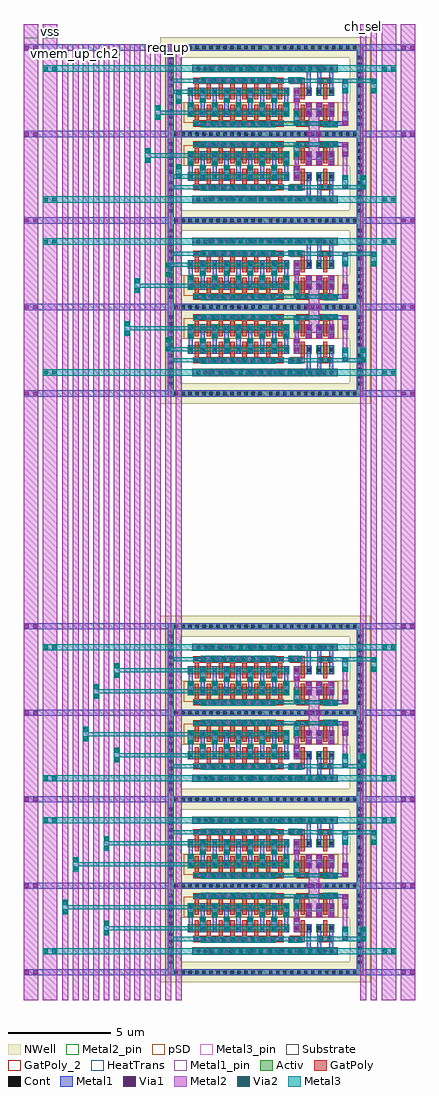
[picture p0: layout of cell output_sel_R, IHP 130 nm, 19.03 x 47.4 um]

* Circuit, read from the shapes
.subckt output_sel_R ch_sel ch_sel_n req_dn req_dn_ch1 req_dn_ch2 req_up req_up_ch1 req_up_ch2 vdd vmem_dn vmem_dn_ch1 vmem_dn_ch2 vmem_up vmem_up_ch1 vmem_up_ch2 vss
XM1 vmem_up ch_sel vmem_up_ch1 vss sg13_lv_nmos w=0.4u l=0.2u m=8
XM2 vmem_up ch_sel_n vmem_up_ch2 vss sg13_lv_nmos w=0.4u l=0.2u m=8
XM3 vmem_dn ch_sel vmem_dn_ch1 vss sg13_lv_nmos w=0.4u l=0.2u m=8
XM4 vmem_dn ch_sel_n vmem_dn_ch2 vss sg13_lv_nmos w=0.4u l=0.2u m=8
XM5 req_up ch_sel req_up_ch1 vss sg13_lv_nmos w=0.4u l=0.2u m=8
XM6 req_up ch_sel_n req_up_ch2 vss sg13_lv_nmos w=0.4u l=0.2u m=8
XM7 req_dn ch_sel req_dn_ch1 vss sg13_lv_nmos w=0.4u l=0.2u m=8
XM8 req_dn ch_sel_n req_dn_ch2 vss sg13_lv_nmos w=0.4u l=0.2u m=8
XM9 vss ch_sel n1 vss sg13_lv_nmos w=0.4u l=0.2u
XM10 vss ch_sel_n n2 vss sg13_lv_nmos w=0.4u l=0.2u
XM11 vss ch_sel n3 vss sg13_lv_nmos w=0.4u l=0.2u
XM12 vss ch_sel_n n4 vss sg13_lv_nmos w=0.4u l=0.2u
XM13 vss ch_sel n5 vss sg13_lv_nmos w=0.4u l=0.2u
XM14 vss ch_sel_n n6 vss sg13_lv_nmos w=0.4u l=0.2u
XM15 vss ch_sel n7 vss sg13_lv_nmos w=0.4u l=0.2u
XM16 vss ch_sel_n n8 vss sg13_lv_nmos w=0.4u l=0.2u
XM17 vss vss vss vss sg13_lv_nmos w=0.4u l=0.2u m=8
XM18 vmem_up n1 vmem_up_ch1 vdd sg13_lv_pmos w=0.4u l=0.2u m=8
XM19 vmem_up n2 vmem_up_ch2 vdd sg13_lv_pmos w=0.4u l=0.2u m=8
XM20 vmem_dn n3 vmem_dn_ch1 vdd sg13_lv_pmos w=0.4u l=0.2u m=8
XM21 vmem_dn n4 vmem_dn_ch2 vdd sg13_lv_pmos w=0.4u l=0.2u m=8
XM22 req_up n5 req_up_ch1 vdd sg13_lv_pmos w=0.4u l=0.2u m=8
XM23 req_up n6 req_up_ch2 vdd sg13_lv_pmos w=0.4u l=0.2u m=8
XM24 req_dn n7 req_dn_ch1 vdd sg13_lv_pmos w=0.4u l=0.2u m=8
XM25 req_dn n8 req_dn_ch2 vdd sg13_lv_pmos w=0.4u l=0.2u m=8
XM26 vdd ch_sel n1 vdd sg13_lv_pmos w=0.4u l=0.2u m=2
XM27 vdd ch_sel_n n2 vdd sg13_lv_pmos w=0.4u l=0.2u m=2
XM28 vdd ch_sel n3 vdd sg13_lv_pmos w=0.4u l=0.2u m=2
XM29 vdd ch_sel_n n4 vdd sg13_lv_pmos w=0.4u l=0.2u m=2
XM30 vdd ch_sel n5 vdd sg13_lv_pmos w=0.4u l=0.2u m=2
XM31 vdd ch_sel_n n6 vdd sg13_lv_pmos w=0.4u l=0.2u m=2
XM32 vdd ch_sel n7 vdd sg13_lv_pmos w=0.4u l=0.2u m=2
XM33 vdd ch_sel_n n8 vdd sg13_lv_pmos w=0.4u l=0.2u m=2
.ends

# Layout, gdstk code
from math import pi, radians
import gdstk
lib = gdstk.Library(unit=1e-6, precision=1e-09)
def R(c, l, rs):  # rectangles x0, y0, x1, y1
    for r in rs: c.add(gdstk.rectangle(r[:2], r[2:], *l))
def A(c, l, x, y, w, h, nx, ny, dx, dy):  # array of equal rectangles
    R(c, l, [(x+i*dx, y+j*dy, x+i*dx+w, y+j*dy+h) for i in range(nx) for j in range(ny)])
def P(c, l, *ps):  # polygons
    for p in ps: c.add(gdstk.Polygon(p, *l))
Activ = (1, 0)
GatPoly = (5, 0)
GatPoly_2 = (5, 2)
Cont = (6, 0)
Metal1 = (8, 0)
Metal1_pin = (8, 2)
Metal2 = (10, 0)
Metal2_pin = (10, 2)
pSD = (14, 0)
Via1 = (19, 0)
Via2 = (29, 0)
Metal3 = (30, 0)
Metal3_pin = (30, 2)
NWell = (31, 0)
Substrate = (40, 0)
HeatTrans = (51, 0)

nmos_4 = lib.new_cell('nmos$4')
R(nmos_4, Activ, [(0,0,0.3,0.3), (0,0,0.88,0.4), (0.58,0,0.88,0.3)])
R(nmos_4, GatPoly, [(0.34,-0.18,0.54,0.58)])
R(nmos_4, GatPoly_2, [(0.34,-0.18,0.54,0.58)])
R(nmos_4, Cont, [(0.07,0.12,0.23,0.28), (0.65,0.12,0.81,0.28)])
R(nmos_4, Metal1, [(0.07,0,0.23,0.4), (0.65,0,0.81,0.4)])
R(nmos_4, Metal1_pin, [(0.07,0,0.23,0.4), (0.65,0,0.81,0.4)])
R(nmos_4, HeatTrans, [(0.34,-0.18,0.54,0.58)])
nmos_4.add(gdstk.Label('nmos', (0.44,0.2), layer=63, texttype=0))
nmos_4.add(gdstk.Label('nmos', (0.44,0.2), layer=51, texttype=0))

pmos_4 = lib.new_cell('pmos$4')
R(pmos_4, Activ, [(0,0,0.3,0.3), (0,0,0.88,0.4), (0.58,0,0.88,0.3)])
R(pmos_4, GatPoly, [(0.34,-0.18,0.54,0.58), (0.34,-0.18,0.54,0.58)])
R(pmos_4, Cont, [(0.07,0.12,0.23,0.28), (0.65,0.12,0.81,0.28)])
R(pmos_4, Metal1, [(0.07,0,0.23,0.4), (0.07,0,0.23,0.4), (0.65,0,0.81,0.4), (0.65,0,0.81,0.4)])
R(pmos_4, pSD, [(-0.18,-0.3,1.06,0.7)])
R(pmos_4, NWell, [(-0.31,-0.31,1.19,0.71)])
R(pmos_4, Substrate, [(0.58,0,0.88,0.3)])
R(pmos_4, HeatTrans, [(0.34,-0.18,0.54,0.58)])
pmos_4.add(gdstk.Label('pmos', (0.44,0.2), layer=63, texttype=0))
pmos_4.add(gdstk.Label('pmos', (0.44,0.2), layer=51, texttype=0))

viagpcont_m1_9 = lib.new_cell('ViaGPCont_M1$9')
R(viagpcont_m1_9, GatPoly, [(-2.19,-0.15,2.19,0.15)])
A(viagpcont_m1_9, Cont, -2.12, -0.08, 0.16, 0.16, 13, 1, 0.34, 0)
R(viagpcont_m1_9, Metal1, [(-2.17,-0.08,2.17,0.08)])

viagpcont_m1_2 = lib.new_cell('ViaGPCont_M1$2')
R(viagpcont_m1_2, GatPoly, [(-0.32,-0.15,0.32,0.15)])
R(viagpcont_m1_2, Cont, [(-0.25,-0.08,-0.09,0.08), (0.09,-0.08,0.25,0.08)])
R(viagpcont_m1_2, Metal1, [(-0.3,-0.08,0.3,0.08)])

via_stack_3 = lib.new_cell('via_stack$3')
R(via_stack_3, Metal1, [(-0.145,-0.35,0.145,0.35)])
R(via_stack_3, Metal2, [(-0.145,-0.35,0.145,0.35)])
R(via_stack_3, Via1, [(-0.095,-0.3,0.095,-0.11), (-0.095,0.11,0.095,0.3)])
R(via_stack_3, Via2, [(-0.095,-0.3,0.095,-0.11), (-0.095,0.11,0.095,0.3)])
R(via_stack_3, Metal3, [(-0.145,-0.35,0.145,0.35)])

via_stack_7 = lib.new_cell('via_stack$7')
R(via_stack_7, Metal1, [(-0.145,-1.825,0.145,1.825)])
R(via_stack_7, Metal2, [(-0.145,-1.825,0.145,1.825)])
A(via_stack_7, Via1, -0.095, -1.775, 0.19, 0.19, 1, 8, 0, 0.48)
A(via_stack_7, Via2, -0.095, -1.775, 0.19, 0.19, 1, 8, 0, 0.48)
R(via_stack_7, Metal3, [(-0.145,-1.825,0.145,1.825)])

via_stack = lib.new_cell('via_stack')
R(via_stack, Metal1, [(-0.145,-0.35,0.145,0.35)])
R(via_stack, Metal2, [(-0.145,-0.35,0.145,0.35)])
R(via_stack, Via1, [(-0.095,-0.3,0.095,-0.11), (-0.095,0.11,0.095,0.3)])

via_stack_5_1 = lib.new_cell('via_stack$5$1')
R(via_stack_5_1, Metal2, [(-0.145,-0.35,0.145,0.35)])
R(via_stack_5_1, Via2, [(-0.095,-0.3,0.095,-0.11), (-0.095,0.11,0.095,0.3)])
R(via_stack_5_1, Metal3, [(-0.145,-0.35,0.145,0.35)])

via_stack_4_2 = lib.new_cell('via_stack$4$2')
R(via_stack_4_2, Metal2, [(-0.35,-0.145,0.35,0.145)])
R(via_stack_4_2, Via2, [(-0.3,-0.095,-0.11,0.095), (0.11,-0.095,0.3,0.095)])
R(via_stack_4_2, Metal3, [(-0.35,-0.145,0.35,0.145)])

via_stack_1 = lib.new_cell('via_stack$1')
R(via_stack_1, Metal1, [(-0.35,-0.145,0.35,0.145)])
R(via_stack_1, Metal2, [(-0.35,-0.145,0.35,0.145)])
R(via_stack_1, Via1, [(-0.3,-0.095,-0.11,0.095), (0.11,-0.095,0.3,0.095)])
R(via_stack_1, Via2, [(-0.3,-0.095,-0.11,0.095), (0.11,-0.095,0.3,0.095)])
R(via_stack_1, Metal3, [(-0.35,-0.145,0.35,0.145)])

ptap_2 = lib.new_cell('PTap$2')
R(ptap_2, Activ, [(-3.5,-0.15,3.5,0.15)])
A(ptap_2, Cont, -3.31, -0.08, 0.16, 0.16, 20, 1, 0.34, 0)
R(ptap_2, Metal1, [(-3.5,-0.15,3.5,0.15)])
R(ptap_2, pSD, [(-3.53,-0.18,3.53,0.18)])
R(ptap_2, Substrate, [(-3.53,-0.18,3.53,0.18)])

via_stack_2 = lib.new_cell('via_stack$2')
R(via_stack_2, Metal1, [(-0.35,-0.145,0.35,0.145)])
R(via_stack_2, Metal2, [(-0.35,-0.145,0.35,0.145)])
R(via_stack_2, Via1, [(-0.3,-0.095,-0.11,0.095), (0.11,-0.095,0.3,0.095)])

guardring_wonwellpsub_1 = lib.new_cell('Guardring_wonwellpsub$1')
P(guardring_wonwellpsub_1, Activ, [(-4.75,-2.25),(-4.75,1.95),(-4.45,1.95),(-4.45,-1.95),(4.45,-1.95),(4.45,1.95),(-4.75,1.95),(-4.75,2.25),(4.75,2.25),(4.75,-2.25)])
A(guardring_wonwellpsub_1, Cont, -4.42, -2.18, 0.16, 0.16, 13, 2, 0.34, 4.2)
A(guardring_wonwellpsub_1, Cont, 0.18, -2.18, 0.16, 0.16, 13, 2, 0.34, 4.2)
A(guardring_wonwellpsub_1, Cont, -4.68, -1.7, 0.16, 0.16, 1, 5, 0, 0.34)
A(guardring_wonwellpsub_1, Cont, 4.52, -1.7, 0.16, 0.16, 1, 5, 0, 0.34)
A(guardring_wonwellpsub_1, Cont, -4.68, 0.18, 0.16, 0.16, 1, 5, 0, 0.34)
A(guardring_wonwellpsub_1, Cont, 4.52, 0.18, 0.16, 0.16, 1, 5, 0, 0.34)
P(guardring_wonwellpsub_1, Metal1, [(-4.75,-2.25),(-4.75,1.95),(-4.45,1.95),(-4.45,-1.95),(4.45,-1.95),(4.45,1.95),(-4.75,1.95),(-4.75,2.25),(4.75,2.25),(4.75,-2.25)])

tgate = lib.new_cell('tgate')
R(tgate, GatPoly, [(6.67,1.96,6.77,2.26)])
R(tgate, Metal1_pin, [(1.335,1.37,1.635,1.67), (0.4,4.55,0.7,4.85)])
R(tgate, Metal3_pin, [(0.4,2.01,0.6,2.21), (0.4,2.54,0.6,2.74), (0.4,3.56,0.6,3.76)])
R(tgate, NWell, [(-0.25,0,0.75,3.15), (0.75,0,8.95,1), (8.95,0,9.95,3.15), (-0.25,3.15,9.95,5.2)])
tgate.add(gdstk.FlexPath([(1.225,3.86),(1.225,2.44)], 0.2, ends="flush", simple_path=True, layer=8, datatype=0))  # Metal1
tgate.add(gdstk.FlexPath([(1.805,3.86),(1.805,2.44)], 0.2, ends="flush", simple_path=True, layer=8, datatype=0))  # Metal1
tgate.add(gdstk.FlexPath([(2.385,3.86),(2.385,2.44)], 0.2, ends="flush", simple_path=True, layer=8, datatype=0))  # Metal1
tgate.add(gdstk.FlexPath([(2.965,3.86),(2.965,2.44)], 0.2, ends="flush", simple_path=True, layer=8, datatype=0))  # Metal1
tgate.add(gdstk.FlexPath([(3.545,3.86),(3.545,2.44)], 0.2, ends="flush", simple_path=True, layer=8, datatype=0))  # Metal1
tgate.add(gdstk.FlexPath([(4.125,3.86),(4.125,2.44)], 0.2, ends="flush", simple_path=True, layer=8, datatype=0))  # Metal1
tgate.add(gdstk.FlexPath([(4.705,3.86),(4.705,2.44)], 0.2, ends="flush", simple_path=True, layer=8, datatype=0))  # Metal1
tgate.add(gdstk.FlexPath([(5.285,3.86),(5.285,2.44)], 0.2, ends="flush", simple_path=True, layer=8, datatype=0))  # Metal1
tgate.add(gdstk.FlexPath([(5.865,3.86),(5.865,2.44)], 0.2, ends="flush", simple_path=True, layer=8, datatype=0))  # Metal1
tgate.add(gdstk.FlexPath([(6.38,3.86),(6.38,2.44)], 0.2, ends="flush", simple_path=True, layer=8, datatype=0))  # Metal1
tgate.add(gdstk.FlexPath([(8.05,2.84),(8.05,1.37)], 0.2, ends="flush", simple_path=True, layer=8, datatype=0))  # Metal1
tgate.add(gdstk.FlexPath([(6.26,4.19),(8.82,4.19)], 0.2, ends="flush", simple_path=True, layer=8, datatype=0))  # Metal1
tgate.add(gdstk.FlexPath([(7.47,2.84),(7.47,1.37)], 0.2, ends="flush", simple_path=True, layer=8, datatype=0))  # Metal1
tgate.add(gdstk.FlexPath([(7.76,2.11),(8.135,2.11)], 0.2, ends="flush", simple_path=True, layer=8, datatype=0))  # Metal1
tgate.add(gdstk.FlexPath([(7.76,2.11),(7.37,2.11)], 0.2, ends="flush", simple_path=True, layer=8, datatype=0))  # Metal1
tgate.add(gdstk.FlexPath([(6.96,2.84),(6.96,1.37)], 0.2, ends="flush", simple_path=True, layer=8, datatype=0))  # Metal1
tgate.add(gdstk.FlexPath([(8.72,2.01),(8.72,4.29)], 0.2, ends="flush", simple_path=True, layer=10, datatype=0))  # Metal2
tgate.add(gdstk.FlexPath([(7.205,3.46),(7.205,4.845)], 0.5, ends="flush", simple_path=True, layer=10, datatype=0))  # Metal2
tgate.add(gdstk.FlexPath([(6.38,2.44),(6.38,4.29)], 0.2, ends="flush", simple_path=True, layer=10, datatype=0))  # Metal2
tgate.add(gdstk.FlexPath([(8.05,3.46),(8.05,4.29)], 0.2, ends="flush", simple_path=True, layer=10, datatype=0))  # Metal2
tgate.add(gdstk.FlexPath([(6.015,3.66),(0.4,3.66)], 0.2, ends="flush", simple_path=True, layer=30, datatype=0))  # Metal3
tgate.add(gdstk.FlexPath([(6.015,2.64),(0.4,2.64)], 0.2, ends="flush", simple_path=True, layer=30, datatype=0))  # Metal3
tgate.add(gdstk.FlexPath([(5.715,2.11),(0.4,2.11)], 0.2, ends="flush", simple_path=True, layer=30, datatype=0))  # Metal3
tgate.add(gdstk.FlexPath([(8.15,4.19),(1.375,4.19)], 0.2, ends="flush", simple_path=True, layer=30, datatype=0))  # Metal3
tgate.add(gdstk.FlexPath([(6,2.11),(8.82,2.11)], 0.2, ends="flush", simple_path=True, layer=30, datatype=0))  # Metal3
tgate.add(gdstk.FlexPath([(5.715,2.11),(6.015,2.11)], 0.2, ends="flush", simple_path=True, layer=30, datatype=0))  # Metal3
tgate.add(gdstk.Reference(nmos_4, (1.075,2.44)))
tgate.add(gdstk.Reference(nmos_4, (1.655,2.44)))
tgate.add(gdstk.Reference(nmos_4, (2.235,2.44)))
tgate.add(gdstk.Reference(nmos_4, (2.815,2.44)))
tgate.add(gdstk.Reference(nmos_4, (3.975,2.44)))
tgate.add(gdstk.Reference(nmos_4, (4.555,2.44)))
tgate.add(gdstk.Reference(nmos_4, (5.135,2.44)))
tgate.add(gdstk.Reference(pmos_4, (1.075,3.46)))
tgate.add(gdstk.Reference(pmos_4, (1.655,3.46)))
tgate.add(gdstk.Reference(pmos_4, (2.235,3.46)))
tgate.add(gdstk.Reference(pmos_4, (2.815,3.46)))
tgate.add(gdstk.Reference(pmos_4, (3.395,3.46)))
tgate.add(gdstk.Reference(pmos_4, (3.975,3.46)))
tgate.add(gdstk.Reference(pmos_4, (4.555,3.46)))
tgate.add(gdstk.Reference(pmos_4, (7.11,3.46), rotation=pi, x_reflection=True))
tgate.add(gdstk.Reference(pmos_4, (5.135,3.46)))
tgate.add(gdstk.Reference(pmos_4, (7.32,3.46)))
tgate.add(gdstk.Reference(nmos_4, (3.395,2.44)))
tgate.add(gdstk.Reference(nmos_4, (7.11,2.44), rotation=pi, x_reflection=True))
tgate.add(gdstk.Reference(nmos_4, (7.32,2.44)))
tgate.add(gdstk.Reference(viagpcont_m1_9, (3.545,4.19)))
tgate.add(gdstk.Reference(viagpcont_m1_9, (3.545,2.11)))
tgate.add(gdstk.Reference(viagpcont_m1_2, (6.67,4.19), rotation=pi, x_reflection=True))
tgate.add(gdstk.Reference(viagpcont_m1_2, (7.76,4.19)))
tgate.add(gdstk.Reference(via_stack_3, (1.225,3.51)))
tgate.add(gdstk.Reference(via_stack_3, (1.805,2.84)))
tgate.add(gdstk.Reference(via_stack_3, (2.385,3.51)))
tgate.add(gdstk.Reference(via_stack_3, (3.545,3.51)))
tgate.add(gdstk.Reference(via_stack_3, (4.705,3.51)))
tgate.add(gdstk.Reference(via_stack_3, (5.865,3.51)))
tgate.add(gdstk.Reference(via_stack_3, (2.965,2.84)))
tgate.add(gdstk.Reference(via_stack_3, (4.125,2.84)))
tgate.add(gdstk.Reference(via_stack_3, (5.285,2.84)))
tgate.add(gdstk.Reference(via_stack_7, (3.53,4.215), rotation=3*pi/2))
tgate.add(gdstk.Reference(via_stack_7, (3.53,2.085), rotation=3*pi/2))
tgate.add(gdstk.Reference(via_stack, (6.38,2.84), rotation=pi, x_reflection=True))
tgate.add(gdstk.Reference(via_stack, (8.06,3.51)))
tgate.add(gdstk.Reference(via_stack_5_1, (6.38,3.94), rotation=pi, x_reflection=True))
tgate.add(gdstk.Reference(via_stack_4_2, (8.015,4.215)))
tgate.add(gdstk.Reference(via_stack, (7.47,3.51)))
tgate.add(gdstk.Reference(viagpcont_m1_2, (7.76,2.11)))
tgate.add(gdstk.Reference(via_stack, (6.96,3.51), rotation=pi, x_reflection=True))
tgate.add(gdstk.Reference(via_stack_1, (6.3,2.085), rotation=pi, x_reflection=True))
tgate.add(gdstk.Reference(via_stack, (8.72,3.94)))
tgate.add(gdstk.Reference(viagpcont_m1_2, (6.35,2.11)))
tgate.add(gdstk.Reference(via_stack_5_1, (8.72,2.36)))
tgate.add(gdstk.Reference(ptap_2, (4.835,1.52)))
tgate.add(gdstk.Reference(via_stack_2, (7.205,4.7)))
tgate.add(gdstk.Reference(guardring_wonwellpsub_1, (4.85,2.6)))
tgate.add(gdstk.Label('sel', (0.5,2.11), layer=30, texttype=25))
tgate.add(gdstk.Label('out', (0.5,2.64), layer=30, texttype=25))
tgate.add(gdstk.Label('in', (0.5,3.66), layer=30, texttype=25))
tgate.add(gdstk.Label('vdd', (0.55,4.7), layer=8, texttype=25))
tgate.add(gdstk.Label('vss', (1.485,1.52), layer=8, texttype=25))

via_stack_17 = lib.new_cell('via_stack$17')
R(via_stack_17, Metal1, [(-2.785,-0.145,2.785,0.145)])
R(via_stack_17, Metal2, [(-2.785,-0.145,2.785,0.145)])
A(via_stack_17, Via1, -2.735, -0.095, 0.19, 0.19, 12, 1, 0.48, 0)
A(via_stack_17, Via2, -2.735, -0.095, 0.19, 0.19, 12, 1, 0.48, 0)
R(via_stack_17, Metal3, [(-2.785,-0.145,2.785,0.145)])

output_sel_r = lib.new_cell('output_sel_R')
R(output_sel_r, Metal2_pin, [(-6.64,45.85,-5.94,46.55), (-5.7,45.85,-5,46.55), (9.715,46.26,10.005,46.55), (10.215,46.26,10.505,46.55)])
output_sel_r.add(gdstk.FlexPath([(12.385,45.405),(9.85,45.405)], 0.3, ends="flush", simple_path=True, layer=8, datatype=0))  # Metal1
output_sel_r.add(gdstk.FlexPath([(12.385,41.205),(9.85,41.205)], 0.3, ends="flush", simple_path=True, layer=8, datatype=0))  # Metal1
output_sel_r.add(gdstk.FlexPath([(12.385,37.005),(9.85,37.005)], 0.3, ends="flush", simple_path=True, layer=8, datatype=0))  # Metal1
output_sel_r.add(gdstk.FlexPath([(12.385,32.805),(9.85,32.805)], 0.3, ends="flush", simple_path=True, layer=8, datatype=0))  # Metal1
output_sel_r.add(gdstk.FlexPath([(12.385,28.605),(9.85,28.605)], 0.3, ends="flush", simple_path=True, layer=8, datatype=0))  # Metal1
output_sel_r.add(gdstk.FlexPath([(12.385,17.3),(9.85,17.3)], 0.3, ends="flush", simple_path=True, layer=8, datatype=0))  # Metal1
output_sel_r.add(gdstk.FlexPath([(12.385,13.1),(9.85,13.1)], 0.3, ends="flush", simple_path=True, layer=8, datatype=0))  # Metal1
output_sel_r.add(gdstk.FlexPath([(12.385,8.9),(9.85,8.9)], 0.3, ends="flush", simple_path=True, layer=8, datatype=0))  # Metal1
output_sel_r.add(gdstk.FlexPath([(9.55,4.7),(12.385,4.7)], 0.3, ends="flush", simple_path=True, layer=8, datatype=0))  # Metal1
output_sel_r.add(gdstk.FlexPath([(9.55,0.5),(12.385,0.5)], 0.3, ends="flush", simple_path=True, layer=8, datatype=0))  # Metal1
output_sel_r.add(gdstk.FlexPath([(0.525,45.405),(-6.64,45.405)], 0.3, ends="flush", simple_path=True, layer=8, datatype=0))  # Metal1
output_sel_r.add(gdstk.FlexPath([(0.525,41.205),(-6.64,41.205)], 0.3, ends="flush", simple_path=True, layer=8, datatype=0))  # Metal1
output_sel_r.add(gdstk.FlexPath([(0.525,37.005),(-6.64,37.005)], 0.3, ends="flush", simple_path=True, layer=8, datatype=0))  # Metal1
output_sel_r.add(gdstk.FlexPath([(0.525,28.605),(-6.64,28.605)], 0.3, ends="flush", simple_path=True, layer=8, datatype=0))  # Metal1
output_sel_r.add(gdstk.FlexPath([(0.525,17.3),(-6.64,17.3)], 0.3, ends="flush", simple_path=True, layer=8, datatype=0))  # Metal1
output_sel_r.add(gdstk.FlexPath([(0.525,13.1),(-6.64,13.1)], 0.3, ends="flush", simple_path=True, layer=8, datatype=0))  # Metal1
output_sel_r.add(gdstk.FlexPath([(0.525,8.9),(-6.64,8.9)], 0.3, ends="flush", simple_path=True, layer=8, datatype=0))  # Metal1
output_sel_r.add(gdstk.FlexPath([(0.525,4.7),(-6.64,4.7)], 0.3, ends="flush", simple_path=True, layer=8, datatype=0))  # Metal1
output_sel_r.add(gdstk.FlexPath([(0.525,0.5),(-6.64,0.5)], 0.3, ends="flush", simple_path=True, layer=8, datatype=0))  # Metal1
output_sel_r.add(gdstk.FlexPath([(0.525,32.805),(-6.64,32.805)], 0.3, ends="flush", simple_path=True, layer=8, datatype=0))  # Metal1
output_sel_r.add(gdstk.FlexPath([(-3.115,45.555),(-3.115,-0.85)], 0.29, ends="flush", simple_path=True, layer=10, datatype=0))  # Metal2
output_sel_r.add(gdstk.FlexPath([(-3.615,45.555),(-3.615,-0.85)], 0.29, ends="flush", simple_path=True, layer=10, datatype=0))  # Metal2
output_sel_r.add(gdstk.FlexPath([(-4.115,45.555),(-4.115,-0.85)], 0.29, ends="flush", simple_path=True, layer=10, datatype=0))  # Metal2
output_sel_r.add(gdstk.FlexPath([(-2.115,45.555),(-2.115,-0.85)], 0.29, ends="flush", simple_path=True, layer=10, datatype=0))  # Metal2
output_sel_r.add(gdstk.FlexPath([(-2.615,45.555),(-2.615,-0.85)], 0.29, ends="flush", simple_path=True, layer=10, datatype=0))  # Metal2
output_sel_r.add(gdstk.FlexPath([(-4.615,45.555),(-4.615,-0.85)], 0.29, ends="flush", simple_path=True, layer=10, datatype=0))  # Metal2
output_sel_r.add(gdstk.FlexPath([(-0.115,45.555),(-0.115,-0.85)], 0.29, ends="flush", simple_path=True, layer=10, datatype=0))  # Metal2
output_sel_r.add(gdstk.FlexPath([(-0.615,45.555),(-0.615,-0.85)], 0.29, ends="flush", simple_path=True, layer=10, datatype=0))  # Metal2
output_sel_r.add(gdstk.FlexPath([(-1.115,45.555),(-1.115,-0.85)], 0.29, ends="flush", simple_path=True, layer=10, datatype=0))  # Metal2
output_sel_r.add(gdstk.FlexPath([(0.885,45.555),(0.885,-0.85)], 0.29, ends="flush", simple_path=True, layer=10, datatype=0))  # Metal2
output_sel_r.add(gdstk.FlexPath([(-1.615,45.555),(-1.615,-0.85)], 0.29, ends="flush", simple_path=True, layer=10, datatype=0))  # Metal2
output_sel_r.add(gdstk.FlexPath([(0.385,45.555),(0.385,-0.85)], 0.29, ends="flush", simple_path=True, layer=10, datatype=0))  # Metal2
output_sel_r.add(gdstk.FlexPath([(9.86,46.55),(9.86,-0.85)], 0.29, ends="flush", simple_path=True, layer=10, datatype=0))  # Metal2
output_sel_r.add(gdstk.FlexPath([(10.36,46.55),(10.36,-0.85)], 0.29, ends="flush", simple_path=True, layer=10, datatype=0))  # Metal2
output_sel_r.add(gdstk.FlexPath([(12.035,46.55),(12.035,-0.85)], 0.7, ends="flush", simple_path=True, layer=10, datatype=0))  # Metal2
output_sel_r.add(gdstk.FlexPath([(11.095,46.55),(11.095,-0.85)], 0.7, ends="flush", simple_path=True, layer=10, datatype=0))  # Metal2
output_sel_r.add(gdstk.FlexPath([(-5.35,46.55),(-5.35,-0.85)], 0.7, ends="flush", simple_path=True, layer=10, datatype=0))  # Metal2
output_sel_r.add(gdstk.FlexPath([(-6.29,46.55),(-6.29,-0.85)], 0.7, ends="flush", simple_path=True, layer=10, datatype=0))  # Metal2
output_sel_r.add(gdstk.FlexPath([(5.34,2.11),(9.98,2.11)], 0.2, ends="flush", simple_path=True, layer=30, datatype=0))  # Metal3
output_sel_r.add(gdstk.FlexPath([(10.005,38.615),(0.65,38.615)], 0.2, ends="flush", simple_path=True, layer=30, datatype=0))  # Metal3
output_sel_r.add(gdstk.FlexPath([(10.505,43.795),(0.65,43.795)], 0.2, ends="flush", simple_path=True, layer=30, datatype=0))  # Metal3
output_sel_r.add(gdstk.FlexPath([(10.505,15.69),(0.65,15.69)], 0.2, ends="flush", simple_path=True, layer=30, datatype=0))  # Metal3
output_sel_r.add(gdstk.FlexPath([(10.005,10.51),(0.65,10.51)], 0.2, ends="flush", simple_path=True, layer=30, datatype=0))  # Metal3
output_sel_r.add(gdstk.FlexPath([(10,30.215),(0.65,30.215)], 0.2, ends="flush", simple_path=True, layer=30, datatype=0))  # Metal3
output_sel_r.add(gdstk.FlexPath([(10.505,35.395),(0.65,35.395)], 0.2, ends="flush", simple_path=True, layer=30, datatype=0))  # Metal3
output_sel_r.add(gdstk.FlexPath([(10.005,2.11),(0.65,2.11)], 0.2, ends="flush", simple_path=True, layer=30, datatype=0))  # Metal3
output_sel_r.add(gdstk.FlexPath([(10.505,7.29),(0.65,7.29)], 0.2, ends="flush", simple_path=True, layer=30, datatype=0))  # Metal3
output_sel_r.add(gdstk.FlexPath([(11.445,44.385),(-5.7,44.385)], 0.3, ends="flush", simple_path=True, layer=30, datatype=0))  # Metal3
output_sel_r.add(gdstk.FlexPath([(11.445,38.025),(-5.7,38.025)], 0.3, ends="flush", simple_path=True, layer=30, datatype=0))  # Metal3
output_sel_r.add(gdstk.FlexPath([(11.445,35.985),(-5.7,35.985)], 0.3, ends="flush", simple_path=True, layer=30, datatype=0))  # Metal3
output_sel_r.add(gdstk.FlexPath([(11.445,29.625),(-5.7,29.625)], 0.3, ends="flush", simple_path=True, layer=30, datatype=0))  # Metal3
output_sel_r.add(gdstk.FlexPath([(11.445,16.28),(-5.7,16.28)], 0.3, ends="flush", simple_path=True, layer=30, datatype=0))  # Metal3
output_sel_r.add(gdstk.FlexPath([(11.445,9.92),(-5.7,9.92)], 0.3, ends="flush", simple_path=True, layer=30, datatype=0))  # Metal3
output_sel_r.add(gdstk.FlexPath([(11.445,7.88),(-5.7,7.88)], 0.3, ends="flush", simple_path=True, layer=30, datatype=0))  # Metal3
output_sel_r.add(gdstk.FlexPath([(11.445,1.52),(-5.7,1.52)], 0.3, ends="flush", simple_path=True, layer=30, datatype=0))  # Metal3
output_sel_r.add(gdstk.FlexPath([(0.65,30.745),(0.24,30.745)], 0.2, ends="flush", simple_path=True, layer=30, datatype=0))  # Metal3
output_sel_r.add(gdstk.FlexPath([(0.65,42.245),(-0.26,42.245)], 0.2, ends="flush", simple_path=True, layer=30, datatype=0))  # Metal3
output_sel_r.add(gdstk.FlexPath([(0.65,33.845),(-1.26,33.845)], 0.2, ends="flush", simple_path=True, layer=30, datatype=0))  # Metal3
output_sel_r.add(gdstk.FlexPath([(0.65,31.765),(-1.76,31.765)], 0.2, ends="flush", simple_path=True, layer=30, datatype=0))  # Metal3
output_sel_r.add(gdstk.FlexPath([(0.65,40.165),(-0.76,40.165)], 0.2, ends="flush", simple_path=True, layer=30, datatype=0))  # Metal3
output_sel_r.add(gdstk.FlexPath([(0.65,34.865),(0.24,34.865)], 0.2, ends="flush", simple_path=True, layer=30, datatype=0))  # Metal3
output_sel_r.add(gdstk.FlexPath([(0.65,3.66),(-4.76,3.66)], 0.2, ends="flush", simple_path=True, layer=30, datatype=0))  # Metal3
output_sel_r.add(gdstk.FlexPath([(0.65,5.74),(-4.26,5.74)], 0.2, ends="flush", simple_path=True, layer=30, datatype=0))  # Metal3
output_sel_r.add(gdstk.FlexPath([(0.65,12.06),(-3.76,12.06)], 0.2, ends="flush", simple_path=True, layer=30, datatype=0))  # Metal3
output_sel_r.add(gdstk.FlexPath([(0.65,14.14),(-3.26,14.14)], 0.2, ends="flush", simple_path=True, layer=30, datatype=0))  # Metal3
output_sel_r.add(gdstk.FlexPath([(0.65,2.64),(-2.76,2.64)], 0.2, ends="flush", simple_path=True, layer=30, datatype=0))  # Metal3
output_sel_r.add(gdstk.FlexPath([(0.65,6.76),(-2.76,6.76)], 0.2, ends="flush", simple_path=True, layer=30, datatype=0))  # Metal3
output_sel_r.add(gdstk.FlexPath([(0.65,15.16),(-2.26,15.16)], 0.2, ends="flush", simple_path=True, layer=30, datatype=0))  # Metal3
output_sel_r.add(gdstk.FlexPath([(0.65,11.04),(-2.26,11.04)], 0.2, ends="flush", simple_path=True, layer=30, datatype=0))  # Metal3
output_sel_r.add(gdstk.Reference(tgate, (0.25,28.105)))
output_sel_r.add(gdstk.Reference(tgate, (0.25,37.505), x_reflection=True))
output_sel_r.add(gdstk.Reference(tgate, (0.25,36.505)))
output_sel_r.add(gdstk.Reference(tgate, (0.25,45.905), x_reflection=True))
output_sel_r.add(gdstk.Reference(tgate, (0.25,0)))
output_sel_r.add(gdstk.Reference(tgate, (0.25,8.4)))
output_sel_r.add(gdstk.Reference(tgate, (0.25,17.8), x_reflection=True))
output_sel_r.add(gdstk.Reference(tgate, (0.25,9.4), x_reflection=True))
output_sel_r.add(gdstk.Reference(via_stack_2, (12.035,45.405)))
output_sel_r.add(gdstk.Reference(via_stack_2, (12.035,41.205)))
output_sel_r.add(gdstk.Reference(via_stack_2, (12.035,37.005)))
output_sel_r.add(gdstk.Reference(via_stack_2, (12.035,32.805)))
output_sel_r.add(gdstk.Reference(via_stack_2, (12.035,28.605)))
output_sel_r.add(gdstk.Reference(via_stack_4_2, (11.095,29.625)))
output_sel_r.add(gdstk.Reference(via_stack_4_2, (11.095,35.985)))
output_sel_r.add(gdstk.Reference(via_stack_4_2, (11.095,38.025)))
output_sel_r.add(gdstk.Reference(via_stack_4_2, (11.095,44.385)))
output_sel_r.add(gdstk.Reference(via_stack_5_1, (10.36,43.545)))
output_sel_r.add(gdstk.Reference(via_stack_5_1, (9.86,30.465)))
output_sel_r.add(gdstk.Reference(via_stack_5_1, (10.36,35.145)))
output_sel_r.add(gdstk.Reference(via_stack_5_1, (9.86,38.865)))
output_sel_r.add(gdstk.Reference(via_stack_5_1, (0.385,30.995)))
output_sel_r.add(gdstk.Reference(via_stack_2, (-6.29,45.405)))
output_sel_r.add(gdstk.Reference(via_stack_2, (-6.29,41.205)))
output_sel_r.add(gdstk.Reference(via_stack_2, (-6.29,37.005)))
output_sel_r.add(gdstk.Reference(via_stack_2, (-6.29,32.805)))
output_sel_r.add(gdstk.Reference(via_stack_2, (-6.29,28.605)))
output_sel_r.add(gdstk.Reference(via_stack_5_1, (-1.615,31.765)))
output_sel_r.add(gdstk.Reference(via_stack_5_1, (-1.115,33.845)))
output_sel_r.add(gdstk.Reference(via_stack_5_1, (-0.615,40.165)))
output_sel_r.add(gdstk.Reference(via_stack_5_1, (-0.115,42.245)))
output_sel_r.add(gdstk.Reference(via_stack_17, (5.11,44.385)))
output_sel_r.add(gdstk.Reference(via_stack_4_2, (-5.35,44.385)))
output_sel_r.add(gdstk.Reference(via_stack_4_2, (-5.35,38.025)))
output_sel_r.add(gdstk.Reference(via_stack_4_2, (-5.35,35.985)))
output_sel_r.add(gdstk.Reference(via_stack_4_2, (-5.35,29.625)))
output_sel_r.add(gdstk.Reference(via_stack_17, (5.11,38.025)))
output_sel_r.add(gdstk.Reference(via_stack_5_1, (0.885,43.015)))
output_sel_r.add(gdstk.Reference(via_stack_5_1, (0.885,39.395)))
output_sel_r.add(gdstk.Reference(via_stack_5_1, (0.385,34.615)))
output_sel_r.add(gdstk.Reference(via_stack_17, (5.11,35.985)))
output_sel_r.add(gdstk.Reference(via_stack_17, (5.11,29.625)))
output_sel_r.add(gdstk.Reference(via_stack_2, (-6.29,4.7)))
output_sel_r.add(gdstk.Reference(via_stack_2, (-6.29,0.5)))
output_sel_r.add(gdstk.Reference(via_stack_5_1, (-4.615,3.66)))
output_sel_r.add(gdstk.Reference(via_stack_5_1, (-2.615,2.64)))
output_sel_r.add(gdstk.Reference(via_stack_5_1, (-2.615,6.76)))
output_sel_r.add(gdstk.Reference(via_stack_17, (5.11,16.28)))
output_sel_r.add(gdstk.Reference(via_stack_17, (5.11,9.92)))
output_sel_r.add(gdstk.Reference(via_stack_17, (5.11,7.88)))
output_sel_r.add(gdstk.Reference(via_stack_17, (5.11,1.52)))
output_sel_r.add(gdstk.Reference(via_stack_5_1, (-2.115,11.04)))
output_sel_r.add(gdstk.Reference(via_stack_5_1, (-2.115,15.16)))
output_sel_r.add(gdstk.Reference(via_stack_4_2, (-5.35,16.28)))
output_sel_r.add(gdstk.Reference(via_stack_4_2, (-5.35,9.92)))
output_sel_r.add(gdstk.Reference(via_stack_4_2, (-5.35,7.88)))
output_sel_r.add(gdstk.Reference(via_stack_4_2, (-5.35,1.52)))
output_sel_r.add(gdstk.Reference(via_stack_5_1, (-3.115,14.14)))
output_sel_r.add(gdstk.Reference(via_stack_5_1, (-3.615,12.06)))
output_sel_r.add(gdstk.Reference(via_stack_5_1, (-4.115,5.74)))
output_sel_r.add(gdstk.Reference(via_stack_2, (-6.29,17.3)))
output_sel_r.add(gdstk.Reference(via_stack_2, (-6.29,13.1)))
output_sel_r.add(gdstk.Reference(via_stack_2, (-6.29,8.9)))
output_sel_r.add(gdstk.Reference(via_stack_5_1, (9.86,10.76)))
output_sel_r.add(gdstk.Reference(via_stack_5_1, (10.36,7.04)))
output_sel_r.add(gdstk.Reference(via_stack_2, (12.035,17.3)))
output_sel_r.add(gdstk.Reference(via_stack_2, (12.035,13.1)))
output_sel_r.add(gdstk.Reference(via_stack_2, (12.035,8.9)))
output_sel_r.add(gdstk.Reference(via_stack_2, (12.035,4.7)))
output_sel_r.add(gdstk.Reference(via_stack_2, (12.035,0.5)))
output_sel_r.add(gdstk.Reference(via_stack_5_1, (9.86,2.36)))
output_sel_r.add(gdstk.Reference(via_stack_4_2, (11.095,1.52)))
output_sel_r.add(gdstk.Reference(via_stack_4_2, (11.095,7.88)))
output_sel_r.add(gdstk.Reference(via_stack_4_2, (11.095,9.92)))
output_sel_r.add(gdstk.Reference(via_stack_4_2, (11.095,16.28)))
output_sel_r.add(gdstk.Reference(via_stack_5_1, (10.36,15.44)))
output_sel_r.add(gdstk.Label('vmem_up_ch2', (-4.115,45.135), layer=10, texttype=25))
output_sel_r.add(gdstk.Label('vmem_dn_ch2', (-3.115,45.14), layer=10, texttype=25))
output_sel_r.add(gdstk.Label('req_dn_ch1', (-0.615,44.84), layer=10, texttype=25))
output_sel_r.add(gdstk.Label('vmem_up', (-2.615,45.41), layer=10, texttype=25))
output_sel_r.add(gdstk.Label('vmem_dn', (-2.115,45.41), layer=10, texttype=25))
output_sel_r.add(gdstk.Label('req_up_ch1', (-1.615,44.84), layer=10, texttype=25))
output_sel_r.add(gdstk.Label('req_up', (0.385,45.41), layer=10, texttype=25))
output_sel_r.add(gdstk.Label('req_up_ch2', (-1.115,45.135), layer=10, texttype=25))
output_sel_r.add(gdstk.Label('req_dn_ch2', (-0.115,45.135), layer=10, texttype=25))
output_sel_r.add(gdstk.Label('vmem_dn_ch1', (-3.615,44.845), layer=10, texttype=25))
output_sel_r.add(gdstk.Label('req_dn', (0.885,45.41), layer=10, texttype=25))
output_sel_r.add(gdstk.Label('vmem_up_ch1', (-4.615,44.845), layer=10, texttype=25))
output_sel_r.add(gdstk.Label('ch_sel', (9.855,46.405), layer=10, texttype=25))
output_sel_r.add(gdstk.Label('ch_sel_n', (10.36,46.405), layer=10, texttype=25))
output_sel_r.add(gdstk.Label('vss', (-5.355,46.2), layer=10, texttype=25))
output_sel_r.add(gdstk.Label('vdd', (-6.29,46.2), layer=10, texttype=25))

lib.write_gds('output_sel_R.gds')
